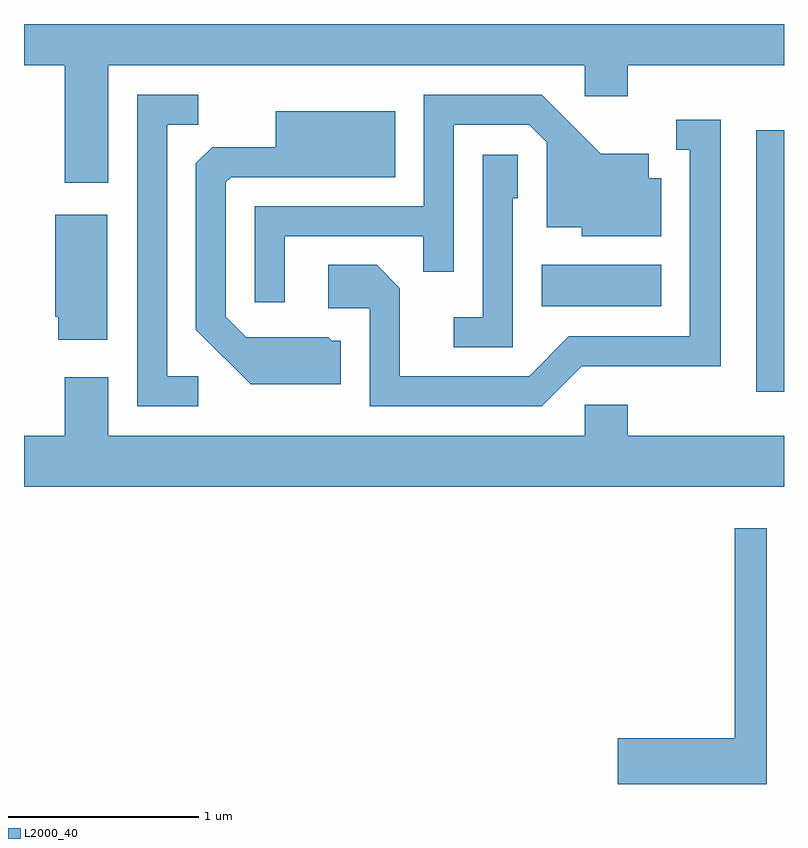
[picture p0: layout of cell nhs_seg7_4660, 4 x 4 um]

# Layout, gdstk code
import gdstk
lib = gdstk.Library(unit=1e-6, precision=1e-09)
def R(c, l, rs):  # rectangles x0, y0, x1, y1
    for r in rs: c.add(gdstk.rectangle(r[:2], r[2:], *l))
def P(c, l, *ps):  # polygons
    for p in ps: c.add(gdstk.Polygon(p, *l))
L2000_40 = (2000, 40)

nhs_seg7_4660 = lib.new_cell('nhs_seg7_4660')
R(nhs_seg7_4660, L2000_40, [(331.466,1770.316,331.611,1771.694), (330.336,1770.766,330.964,1770.984)])
P(nhs_seg7_4660, L2000_40, [(328.054,1772.036),(330.561,1772.036),(330.561,1771.871),(330.789,1771.871),(330.789,1772.036),(331.611,1772.036),(331.611,1772.252),(327.611,1772.252),(327.611,1772.036),(327.826,1772.036),(327.826,1771.416),(328.054,1771.416)],
  [(328.528,1770.399),(328.364,1770.399),(328.364,1771.721),(328.528,1771.721),(328.528,1771.879),(328.206,1771.879),(328.206,1770.241),(328.528,1770.241)],
  [(328.984,1771.136),(329.711,1771.136),(329.711,1770.948),(329.874,1770.948),(329.874,1771.721),(330.269,1771.721),(330.361,1771.629),(330.361,1771.181),(330.546,1771.181),(330.546,1771.136),(330.964,1771.136),(330.964,1771.439),(330.899,1771.439),(330.899,1771.569),(330.647,1771.569),(330.337,1771.879),(329.716,1771.879),(329.716,1771.294),(328.826,1771.294),(328.826,1770.788),(328.984,1770.788)],
  [(329.279,1770.584),(329.232,1770.584),(329.212,1770.604),(328.782,1770.604),(328.674,1770.712),(328.674,1771.419),(328.702,1771.446),(329.564,1771.446),(329.564,1771.794),(328.936,1771.794),(328.936,1771.604),(328.602,1771.604),(328.516,1771.519),(328.516,1770.644),(328.804,1770.356),(329.279,1770.356)],
  [(330.547,1770.451),(331.279,1770.451),(331.279,1771.749),(331.043,1771.749),(331.043,1771.591),(331.116,1771.591),(331.116,1770.609),(330.479,1770.609),(330.269,1770.399),(329.589,1770.399),(329.589,1770.862),(329.467,1770.984),(329.211,1770.984),(329.211,1770.756),(329.431,1770.756),(329.431,1770.241),(330.337,1770.241)],
  [(330.184,1771.336),(330.209,1771.336),(330.209,1771.564),(330.026,1771.564),(330.026,1770.709),(329.873,1770.709),(329.873,1770.551),(330.184,1770.551)],
  [(328.049,1771.249),(327.776,1771.249),(327.776,1770.71),(327.791,1770.71),(327.791,1770.591),(328.049,1770.591)],
  [(331.611,1770.084),(330.789,1770.084),(330.789,1770.249),(330.561,1770.249),(330.561,1770.084),(328.054,1770.084),(328.054,1770.394),(327.826,1770.394),(327.826,1770.084),(327.611,1770.084),(327.611,1769.816),(331.611,1769.816)],
  [(331.519,1769.598),(331.351,1769.598),(331.351,1768.494),(330.736,1768.494),(330.736,1768.252),(331.519,1768.252)])

lib.write_gds('nhs_seg7_4660.gds')
